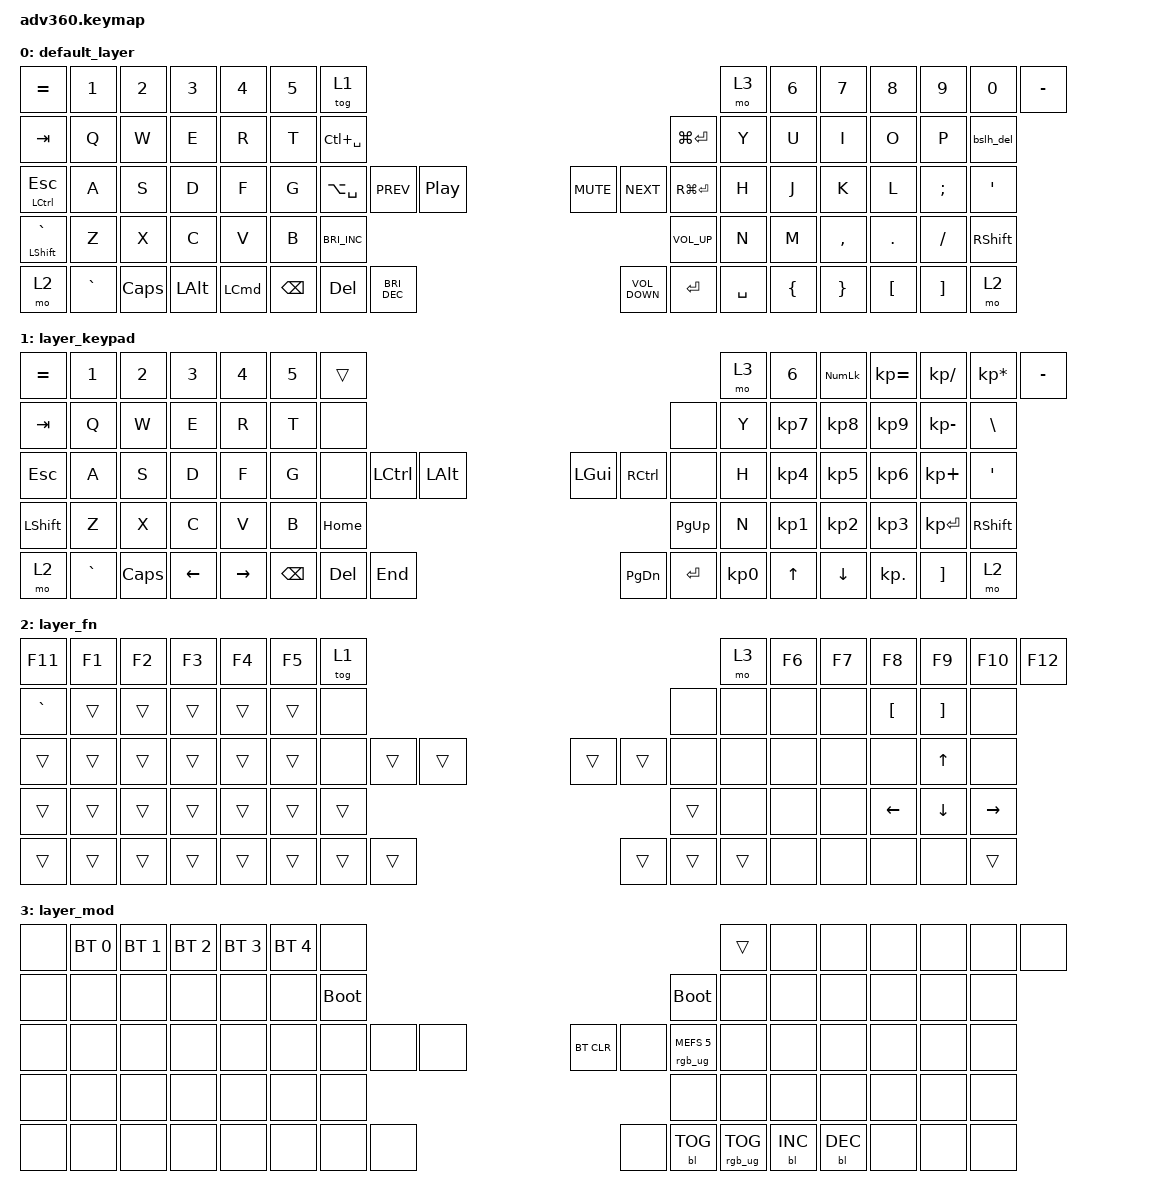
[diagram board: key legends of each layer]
#include <behaviors.dtsi>
#include <dt-bindings/zmk/keys.h>
#include <dt-bindings/zmk/bt.h>
#include <dt-bindings/zmk/rgb.h>
#include <dt-bindings/zmk/backlight.h>

/ {
  behaviors {
    #include "macros.dtsi"
    #include "version.dtsi"

    hm: homerow_mods {
        compatible = "zmk,behavior-hold-tap";
        label = "HOMEROW_MODS";
        #binding-cells = <2>;
        tapping-term-ms = <200>;
        quick_tap_ms = <175>;
        flavor = "tap-preferred";
        bindings = <&kp>, <&kp>;
    };

    bslh_del: bslh_del {
        compatible = "zmk,behavior-mod-morph";
        label = "BSLS_DEL";
        #binding-cells = <0>;
        bindings = <&kp BSLH>, <&kp BSPC>;
        mods = <(MOD_LGUI|MOD_LALT)>;
        keep-mods = <(MOD_LGUI|MOD_LALT)>;
    };
  };

    keymap {
        compatible = "zmk,keymap";


        default_layer {
            bindings = <
     &kp EQUAL      &kp N1        &kp N2        &kp N3    &kp N4  &kp N5                   &tog 1                                                                                            &mo 3  &kp N6          &kp N7           &kp N8    &kp N9    &kp N0   &kp MINUS
       &kp TAB      &kp Q         &kp W         &kp E     &kp R   &kp T            &kp LC(SPACE)                                                                                   &kp LG(RETURN)   &kp Y           &kp U            &kp I     &kp O     &kp P   &bslh_del
 &mt LCTRL ESC      &kp A         &kp S         &kp D     &kp F   &kp G            &kp LA(SPACE)  &kp C_PREV      &kp C_PLAY_PAUSE                         &kp C_MUTE  &kp C_NEXT  &kp RG(RETURN)   &kp H           &kp J            &kp K     &kp L  &kp SEMI   &kp SQT
 &mt LSHFT GRAVE    &kp Z         &kp X         &kp C     &kp V   &kp B                                       &kp C_BRIGHTNESS_INC                       &kp C_VOL_UP                               &kp N           &kp M        &kp COMMA   &kp DOT  &kp FSLH   &kp RSHFT
         &mo 2  &kp GRAVE  &kp CAPSLOCK  &kp LEFT_ALT  &kp LCMD                         &kp BSPC     &kp DEL         &kp C_BRI_DEC                  &kp C_VOLUME_DOWN   &kp ENTER       &kp SPACE          &kp LEFT_BRACE  &kp RIGHT_BRACE  &kp LBKT  &kp RBKT   &mo 2
            >;
        };

        layer_keypad {
            bindings = <
 &kp EQUAL     &kp N1    &kp N2    &kp N3     &kp N4  &kp N5              &trans                                                                 &mo 3  &kp N6  &kp KP_NUM  &kp KP_EQUAL  &kp KP_DIVIDE  &kp KP_MULTIPLY  &kp MINUS
   &kp TAB      &kp Q     &kp W     &kp E      &kp R   &kp T               &none                                                                 &none   &kp Y   &kp KP_N7     &kp KP_N8      &kp KP_N9     &kp KP_MINUS   &kp BSLH
   &kp ESC      &kp A     &kp S     &kp D      &kp F   &kp G               &none  &kp LCTRL  &kp LALT                   &kp LGUI  &kp RCTRL      &none   &kp H   &kp KP_N4     &kp KP_N5      &kp KP_N6      &kp KP_PLUS    &kp SQT
 &kp LSHFT      &kp Z     &kp X     &kp C      &kp V   &kp B                                 &kp HOME                  &kp PG_UP                         &kp N   &kp KP_N1     &kp KP_N2      &kp KP_N3     &kp KP_ENTER  &kp RSHFT
     &mo 2  &kp GRAVE  &kp CAPS  &kp LEFT  &kp RIGHT                    &kp BSPC    &kp DEL   &kp END                  &kp PG_DN  &kp ENTER  &kp KP_N0              &kp UP      &kp DOWN     &kp KP_DOT         &kp RBKT      &mo 2
            >;
        };

        layer_fn {
            bindings = <
 &kp F11   &kp F1  &kp F2        &kp F3    &kp F4  &kp F5            &tog 1                                                   &mo 3  &kp F6    &kp F7         &kp F8          &kp F9         &kp F10   &kp F12
 &kp GRAVE &trans  &trans        &trans    &trans  &trans             &none                                                   &none  &none     &none          &none           &kp LBKT      &kp RBKT   &none 
 &trans    &trans  &trans        &trans    &trans  &trans             &none  &trans  &trans                  &trans  &trans   &none  &none     &none          &none           &none     &kp UP_ARROW   &none 
 &trans    &trans  &trans        &trans    &trans  &trans                            &trans                  &trans                  &none     &none          &none   &kp LEFT_ARROW  &kp DOWN_ARROW   &kp RIGHT_ARROW
 &trans    &trans  &trans        &trans    &trans                    &trans  &trans  &trans                  &trans  &trans  &trans            &none          &none           &none            &none   &trans
            >;
        };

        layer_mod {
            bindings = <
  &none  &bt BT_SEL 0  &bt BT_SEL 1  &bt BT_SEL 2  &bt BT_SEL 3  &bt BT_SEL 4                  &none                                                                          &trans   &none       &none       &none   &none   &none   &none
  &none         &none         &none         &none         &none         &none            &bootloader                                                                     &bootloader   &none       &none       &none   &none   &none   &none
  &none         &none         &none         &none         &none         &none                  &none   &none   &none                  &bt BT_CLR       &none  &rgb_ug RGB_MEFS_CMD 5   &none       &none       &none   &none   &none   &none
  &none         &none         &none         &none         &none         &none                                  &none                       &none                                       &none       &none       &none   &none   &none   &none
  &none         &none         &none         &none         &none                                &none   &none   &none                       &none  &bl BL_TOG         &rgb_ug RGB_TOG          &bl BL_INC  &bl BL_DEC   &none   &none   &none
            >;
        };

    };
};
